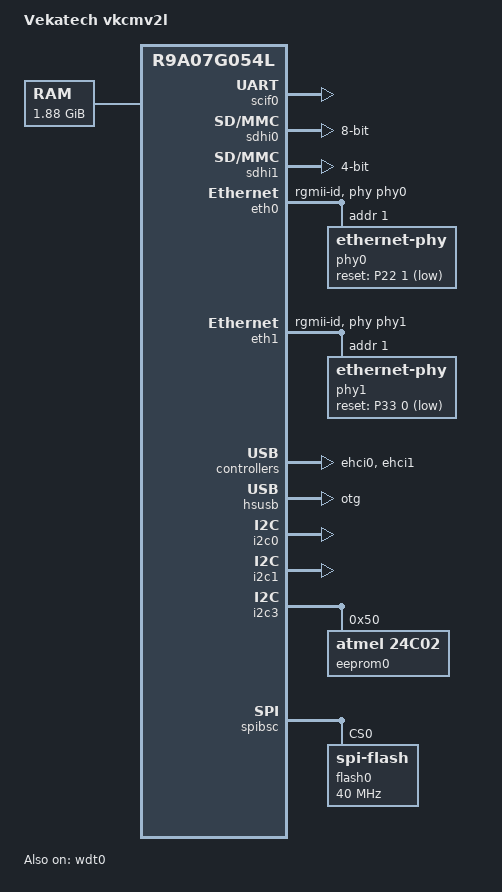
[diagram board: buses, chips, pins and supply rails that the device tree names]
// SPDX-License-Identifier: GPL-2.0
/*
 * Device Tree Source for the VK-CMRZ/V2L board
 *
 */

/dts-v1/;
#include <dt-bindings/gpio/gpio.h>
#include "r9a07g054l.dtsi"
#include "r9a07g054l-u-boot.dtsi"
#include <dt-bindings/pinctrl/rzv2l-pinctrl.h>

/ {
        model = "Vekatech vkcmv2l";
        compatible = "renesas,r9a07g054l", "renesas,rzv2l";

        aliases {
                serial0 = &scif0;
                spi0 = &spibsc;
                ethernet0 = &eth0;
                ethernet1 = &eth1;
        };

        chosen {
                stdout-path = "serial0:115200n8";
        };

        memory@48000000 {
                device_type = "memory";
                /* first 128MB is reserved for secure area. */
                reg = <0 0x48000000 0 0x78000000>;
        };
};

&pinctrl {
        eth0_pins: eth0 {
                pinmux = <RZV2L_PINMUX(28, 1, 1)>, /* ET0_LINKSTA */
                         <RZV2L_PINMUX(27, 1, 1)>, /* ET0_MDC */
                         <RZV2L_PINMUX(28, 0, 1)>, /* ET0_MDIO */
                         <RZV2L_PINMUX(20, 0, 1)>, /* ET0_TXC */
                         <RZV2L_PINMUX(20, 1, 1)>, /* ET0_TX_CTL */
                         <RZV2L_PINMUX(20, 2, 1)>, /* ET0_TXD0 */
                         <RZV2L_PINMUX(21, 0, 1)>, /* ET0_TXD1 */
                         <RZV2L_PINMUX(21, 1, 1)>, /* ET0_TXD2 */
                         <RZV2L_PINMUX(22, 0, 1)>, /* ET0_TXD3 */
                         <RZV2L_PINMUX(24, 0, 1)>, /* ET0_RXC */
                         <RZV2L_PINMUX(24, 1, 1)>, /* ET0_RX_CTL */
                         <RZV2L_PINMUX(25, 0, 1)>, /* ET0_RXD0 */
                         <RZV2L_PINMUX(25, 1, 1)>, /* ET0_RXD1 */
                         <RZV2L_PINMUX(26, 0, 1)>, /* ET0_RXD2 */
                         <RZV2L_PINMUX(26, 1, 1)>; /* ET0_RXD3 */

        };

        eth1_pins: eth1 {
                pinmux = <RZV2L_PINMUX(37, 2, 1)>, /* ET1_LINKSTA */
                         <RZV2L_PINMUX(37, 0, 1)>, /* ET1_MDC */
                         <RZV2L_PINMUX(37, 1, 1)>, /* ET1_MDIO */
                         <RZV2L_PINMUX(29, 0, 1)>, /* ET1_TXC */
                         <RZV2L_PINMUX(29, 1, 1)>, /* ET1_TX_CTL */
                         <RZV2L_PINMUX(30, 0, 1)>, /* ET1_TXD0 */
                         <RZV2L_PINMUX(30, 1, 1)>, /* ET1_TXD1 */
                         <RZV2L_PINMUX(31, 0, 1)>, /* ET1_TXD2 */
                         <RZV2L_PINMUX(31, 1, 1)>, /* ET1_TXD3 */
                         <RZV2L_PINMUX(33, 1, 1)>, /* ET1_RXC */
                         <RZV2L_PINMUX(34, 0, 1)>, /* ET1_RX_CTL */
                         <RZV2L_PINMUX(34, 1, 1)>, /* ET1_RXD0 */
                         <RZV2L_PINMUX(35, 0, 1)>, /* ET1_RXD1 */
                         <RZV2L_PINMUX(35, 1, 1)>, /* ET1_RXD2 */
                         <RZV2L_PINMUX(36, 0, 1)>; /* ET1_RXD3 */
        };

        i2c3_pins: i2c3 {
                pinmux = <RZV2L_PINMUX(18, 0, 3)>,
                         <RZV2L_PINMUX(18, 1, 3)>;
        }; 
};

&xinclk {
        clock-frequency = <24000000>;
};

&scif0 {
        status = "okay";
        clock = <100000000>;
};

&sdhi0 {
        /* pinctrl placeholder
         * If this channel is used for interfacing with a SD card, a power enable
         * pin (SD0_PWR_EN) must be defined.
         * The SD0_PWR_EN pin is associated with P19_0.
         * A HIGH signal on SD0_PWR_EN will enable supply voltage for SD card.
        */
        bus-width = <8>;
        status = "okay";
};

&sdhi1 {
        /* pinctrl placeholder
         * A power enable pin (SD1_PWR_EN) must be defined to interface with a
         * SD card.
         * The SD1_PWR_EN pin is associated with P39_2.
         * A HIGH signal on SD1_PWR_EN will enable supply voltage for SD card.
        */
        bus-width = <4>;
        status = "okay";
};

&eth0 {
        pinctrl-names = "default";
        pinctrl-0 = <&eth0_pins>;
        phy-handle = <&phy0>;
        phy-mode = "rgmii-id";
        status = "okay";

        phy0: ethernet-phy@1 {
                reg = <1>;
                reset-gpios = <&P22 1 (GPIO_ACTIVE_LOW|GPIO_OPEN_DRAIN)>;
        };
};

&eth1 {
        pinctrl-names = "default";
        pinctrl-0 = <&eth1_pins>;
        phy-handle = <&phy1>;
        phy-mode = "rgmii-id";
        status = "okay";

        phy1: ethernet-phy@1 {
                reg = <1>;
                reset-gpios = <&P33 0 (GPIO_ACTIVE_LOW|GPIO_OPEN_DRAIN)>;
        };
};

&ehci0 {
        status = "okay";
}; 

&ehci1 {
        status = "okay";
};

&hsusb {
	dr_mode = "otg";
	status = "okay";
};

&i2c0 {
        pinctrl-names = "default";
        status = "okay";
};

&i2c1 {
        pinctrl-names = "default";
        status = "okay";
};


&i2c3 {
        pinctrl-0 = <&i2c3_pins>;
        pinctrl-names = "default";
        status = "okay";


	eeprom0: eeprom@50 {
		compatible = "atmel,24c02";
		reg = <0x50>;
		pagesize = <16>;
	};
};

&spibsc {
        num-cs = <1>;
        status = "okay";
        spi-max-frequency = <40000000>;
        #address-cells = <1>;
        #size-cells = <0>;
        flash0: spi-flash@0 {
                #address-cells = <1>;
                #size-cells = <1>;
                compatible = "spi-flash", "jedec,spi-nor";
                spi-max-frequency = <40000000>;
                spi-tx-bus-width = <1>;
                spi-rx-bus-width = <1>;
                reg = <0>;
                status = "okay";
        };
};

&wdt0 {
        status = "okay";
        timeout-sec = <60>;
};
